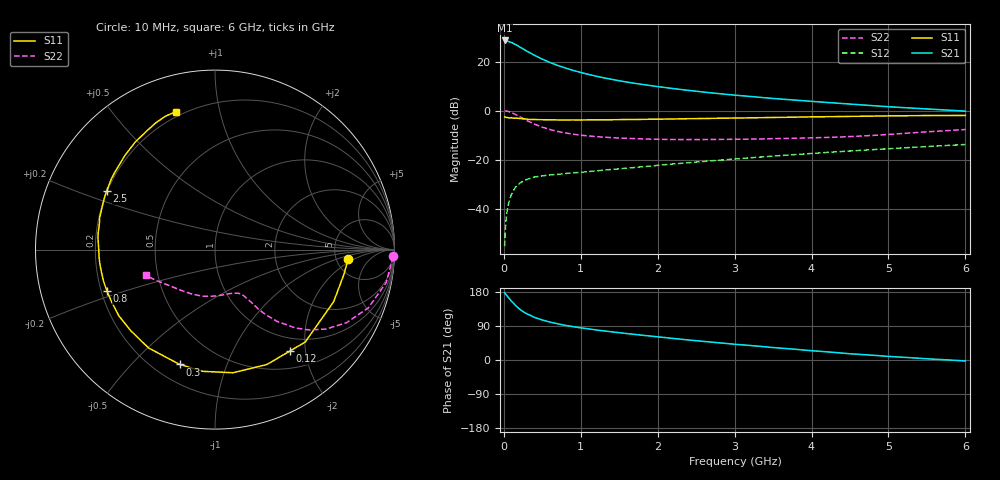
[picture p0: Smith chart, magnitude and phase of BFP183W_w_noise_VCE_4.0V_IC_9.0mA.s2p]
! (c) 2017  Infineon Technologies AG, Munich
! Infineon Technologies  Discrete & RF Semiconductors
! BFP183W
! VCE =  4.0 V,  IC =  9.0 mA
! Common Emitter S-Parameters:  Jan 2017
# GHz  S  MA  R  50
!  f  S11  S21  S12  S22
! GHz  MAG  ANG  MAG  ANG  MAG  ANG  MAG  ANG
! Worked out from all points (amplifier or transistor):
!   77 points, 10 MHz to 6 GHz, reference 50 ohm
!   highest |S21| = 28.7 dB at 10 MHz (marker M1)
!   |S21| within 3 dB of that: start of sweep to 225.9 MHz
!   unconditionally stable (mu >= 1): 1.68 GHz to 3.976 GHz
!   at 130 MHz: K = 0.13, MSG = 29.9 dB, |S12| = -32.4 dB
!   at 2.2 GHz: K = 1.06, MAG = 13.9 dB, |S12| = -21.8 dB
!   at 6 GHz: K = 0.86, MSG = 6.8 dB, |S12| = -13.8 dB
!   lowest NFmin = 0.90 dB at 450 MHz
!   S11 on the Smith chart (normalised r, x): 10 MHz: 6.44, -1.54; 120 MHz: 0.77, -1.71; 300 MHz: 0.30, -0.69; 800 MHz: 0.22, -0.18; 2.5 GHz: 0.20, +0.24; 6 GHz: 0.18, +0.74
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0.01  0.7441 -4.1  27.13 178.2  0.0017 76.5  0.9939 -2.2
0.02  0.7314 -10.9  26.83 174.7  0.004 89.1  0.9855 -4.5
0.05  0.722 -23.7  26.25 167.1  0.0104 79.6  0.9712 -10.9
0.1  0.7197 -45.7  24.67 154.9  0.0195 70.3  0.9139 -20.8
0.12  0.7025 -53.6  23.72 150.9  0.0225 65.8  0.8814 -23.9
0.15  0.7026 -65.7  22.52 144.3  0.0271 60.9  0.8381 -29.1
0.2  0.6934 -81.7  20.29 135.2  0.0322 54.5  0.7605 -35.6
0.25  0.6816 -95.7  18.24 127.6  0.0363 49.6  0.689 -40.5
0.3  0.6694 -107.1  16.36 121.7  0.0394 45.3  0.6252 -44.3
0.4  0.6613 -124.0  13.45 112.2  0.044 40.7  0.5276 -49.2
0.5  0.6516 -136.2  11.24 105.5  0.0464 37.8  0.4595 -52.1
0.6  0.6503 -145.5  9.634 100.0  0.0486 36.7  0.4107 -53.9
0.8  0.6451 -159.1  7.427 91.4  0.0519 37.2  0.3498 -55.7
0.9  0.6455 -164.3  6.635 88.0  0.0535 36.8  0.3304 -56.7
1.1  0.6467 -172.8  5.496 82.2  0.0568 38.6  0.3038 -58.0
1.5  0.6548 174.5  4.077 72.1  0.0646 41.7  0.2751 -62.1
2.1  0.6714 159.6  2.957 59.1  0.0787 45.8  0.2582 -72.1
2.5  0.6864 151.5  2.49 51.0  0.0889 47.4  0.2563 -80.8
3.1  0.7081 140.6  2.009 40.0  0.1054 48.1  0.2602 -94.6
4.1  0.7479 125.5  1.508 23.0  0.1365 46.7  0.2803 -119.1
5.1  0.7824 114.0  1.175 8.3  0.1699 43.0  0.3335 -144.4
6  0.7985 105.6  0.975 -2.6  0.2031 38.1  0.4106 -159.5
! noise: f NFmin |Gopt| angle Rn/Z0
0.45  0.9  0.11  89  0.11
0.9  0.95  0.18  132  0.1
1.9  1.46  0.37  179  0.07
2.4  1.71  0.44  -170  0.09
